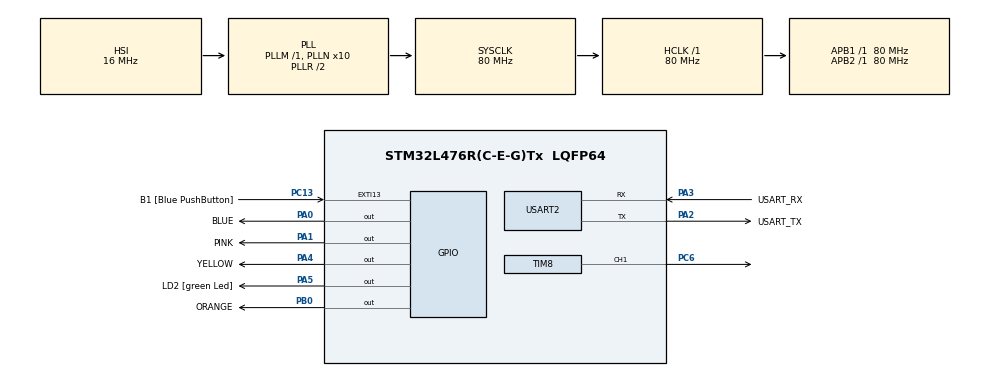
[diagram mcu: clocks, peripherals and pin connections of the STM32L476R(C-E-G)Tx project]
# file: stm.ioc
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Mcu.Family=STM32L4
Mcu.Name=STM32L476R(C-E-G)Tx
Mcu.Package=LQFP64
NVIC.PriorityGroup=NVIC_PRIORITYGROUP_4
PA0.GPIO_Label=BLUE
PA0.Signal=GPIO_Output
PA1.GPIO_Label=PINK
PA1.Signal=GPIO_Output
PA13\ (JTMS-SWDIO).GPIO_Label=TMS
PA13\ (JTMS-SWDIO).Mode=Serial_Wire
PA13\ (JTMS-SWDIO).Signal=SYS_JTMS-SWDIO
PA14\ (JTCK-SWCLK).GPIO_Label=TCK
PA14\ (JTCK-SWCLK).Mode=Serial_Wire
PA14\ (JTCK-SWCLK).Signal=SYS_JTCK-SWCLK
PA2.GPIO_Label=USART_TX
PA2.GPIO_Mode=GPIO_MODE_AF_PP
PA2.GPIO_PuPd=GPIO_NOPULL
PA2.GPIO_Speed=GPIO_SPEED_FREQ_VERY_HIGH
PA2.Mode=Asynchronous
PA2.Signal=USART2_TX
PA3.GPIO_Label=USART_RX
PA3.GPIO_Mode=GPIO_MODE_AF_PP
PA3.GPIO_PuPd=GPIO_NOPULL
PA3.GPIO_Speed=GPIO_SPEED_FREQ_VERY_HIGH
PA3.Mode=Asynchronous
PA3.Signal=USART2_RX
PA4.GPIO_Label=YELLOW
PA4.Signal=GPIO_Output
PA5.GPIO_Label=LD2 [green Led]
PA5.GPIO_ModeDefaultOutputPP=GPIO_MODE_OUTPUT_PP
PA5.GPIO_PuPd=GPIO_NOPULL
PA5.GPIO_Speed=GPIO_SPEED_FREQ_LOW
PA5.Signal=GPIO_Output
PB0.GPIO_Label=ORANGE
PB0.Signal=GPIO_Output
PB3\ (JTDO-TRACESWO).GPIO_Label=SWO
PB3\ (JTDO-TRACESWO).Signal=SYS_JTDO-SWO
PC13.GPIO_Label=B1 [Blue PushButton]
PC13.GPIO_ModeDefaultEXTI=GPIO_MODE_IT_FALLING
PC13.GPIO_PuPd=GPIO_NOPULL
PC13.Signal=GPXTI13
PC14-OSC32_IN\ (PC14).Mode=LSE-External-Oscillator
PC14-OSC32_IN\ (PC14).Signal=RCC_OSC32_IN
PC15-OSC32_OUT\ (PC15).Mode=LSE-External-Oscillator
PC15-OSC32_OUT\ (PC15).Signal=RCC_OSC32_OUT
PC6.Signal=S_TIM8_CH1
PH0-OSC_IN\ (PH0).Signal=RCC_OSC_IN
PH1-OSC_OUT\ (PH1).Signal=RCC_OSC_OUT
ProjectManager.HeapSize=0x200
ProjectManager.StackSize=0x400
ProjectManager.TargetToolchain=STM32CubeIDE
RCC.ADCFreq_Value=64000000
RCC.AHBFreq_Value=80000000
RCC.APB1Freq_Value=80000000
RCC.APB1TimFreq_Value=80000000
RCC.APB2Freq_Value=80000000
RCC.APB2TimFreq_Value=80000000
RCC.CortexFreq_Value=80000000
RCC.HCLKFreq_Value=80000000
RCC.HSE_VALUE=8000000
RCC.HSI_VALUE=16000000
RCC.MSI_VALUE=4000000
RCC.PLLN=10
RCC.PLLSourceVirtual=RCC_PLLSOURCE_HSI
RCC.PREFETCH_ENABLE=1
RCC.SYSCLKFreq_VALUE=80000000
RCC.SYSCLKSource=RCC_SYSCLKSOURCE_PLLCLK
RCC.USBFreq_Value=64000000
RCC.VCOOutputFreq_Value=160000000
SH.S_TIM8_CH1.0=TIM8_CH1,PWM Generation1 CH1
TIM6.Period=40000
TIM6.Prescaler=1
TIM8.Channel-PWM\ Generation1\ CH1=TIM_CHANNEL_1
TIM8.OCFastMode_PWM-PWM\ Generation1\ CH1=TIM_OCFAST_ENABLE
TIM8.Period=1000
TIM8.Pulse-PWM\ Generation1\ CH1=1000
USART2.VirtualMode-Asynchronous=VM_ASYNC
VP_TIM6_VS_ClockSourceINT.Mode=Enable_Timer
VP_TIM8_VS_ClockSourceINT.Mode=Internal
board=NUCLEO-L476RG

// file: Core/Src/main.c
/* USER CODE BEGIN Header */
/**
  ******************************************************************************
  * @file           : main.c
  * @brief          : Main program body
  ******************************************************************************
  * @attention
  *
  * Copyright (c) 2024 STMicroelectronics.
  * All rights reserved.
  *
  * This software is licensed under terms that can be found in the LICENSE file
  * in the root directory of this software component.
  * If no LICENSE file comes with this software, it is provided AS-IS.
  *
  ******************************************************************************
  */
/* USER CODE END Header */
#include "main.h"

TIM_HandleTypeDef htim6;
TIM_HandleTypeDef htim8;

UART_HandleTypeDef huart2;

void SystemClock_Config(void);
static void MX_GPIO_Init(void);
static void MX_USART2_UART_Init(void);
static void MX_TIM8_Init(void);
static void MX_TIM6_Init(void);

/* USER CODE BEGIN 0 */
static const int step_delay = 500;

void delay_us(uint32_t us)
{
	for (int i = 0; i < us; i++){
		HAL_TIM_Base_Start(&htim6);
		HAL_TIM_Base_Stop(&htim6);
	}
}

void turn_cw(unsigned int steps){
	HAL_GPIO_WritePin(BLUE_GPIO_Port, BLUE_Pin, GPIO_PIN_SET);
	  HAL_GPIO_WritePin(ORANGE_GPIO_Port, ORANGE_Pin, GPIO_PIN_RESET);
	  HAL_GPIO_WritePin(YELLOW_GPIO_Port, YELLOW_Pin, GPIO_PIN_SET);
	  HAL_GPIO_WritePin(PINK_GPIO_Port, PINK_Pin, GPIO_PIN_SET);

	  for (int i = 0; i<steps; i++){
	delay_us(step_delay);
	  //HAL_Delay(1);
	  HAL_GPIO_WritePin(YELLOW_GPIO_Port, YELLOW_Pin, GPIO_PIN_RESET);
	  delay_us(step_delay);
	  //HAL_Delay(1);
	  HAL_GPIO_WritePin(ORANGE_GPIO_Port, ORANGE_Pin, GPIO_PIN_SET);
	  delay_us(step_delay);
	  //HAL_Delay(1);
	  HAL_GPIO_WritePin(PINK_GPIO_Port, PINK_Pin, GPIO_PIN_RESET);
	  delay_us(step_delay);
	  //HAL_Delay(1);
	  HAL_GPIO_WritePin(YELLOW_GPIO_Port, YELLOW_Pin, GPIO_PIN_SET);
	  delay_us(step_delay);
	  //HAL_Delay(1);
	  HAL_GPIO_WritePin(BLUE_GPIO_Port, BLUE_Pin, GPIO_PIN_RESET);
	  delay_us(step_delay);
	  //HAL_Delay(1);
	  HAL_GPIO_WritePin(PINK_GPIO_Port, PINK_Pin, GPIO_PIN_SET);
	  delay_us(step_delay);
	  //HAL_Delay(1);
	  HAL_GPIO_WritePin(ORANGE_GPIO_Port, ORANGE_Pin, GPIO_PIN_RESET);
	  delay_us(step_delay);
	  //HAL_Delay(1);
	  HAL_GPIO_WritePin(BLUE_GPIO_Port, BLUE_Pin, GPIO_PIN_SET);
	  }
}

void turn_acw(unsigned int steps){
	HAL_GPIO_WritePin(BLUE_GPIO_Port, BLUE_Pin, GPIO_PIN_RESET);
	  HAL_GPIO_WritePin(ORANGE_GPIO_Port, ORANGE_Pin, GPIO_PIN_RESET);
	  HAL_GPIO_WritePin(YELLOW_GPIO_Port, YELLOW_Pin, GPIO_PIN_SET);
	  HAL_GPIO_WritePin(PINK_GPIO_Port, PINK_Pin, GPIO_PIN_SET);

	  for (int i = 0; i<steps; i++){
	delay_us(step_delay);
	  //HAL_Delay(1);
	  HAL_GPIO_WritePin(ORANGE_GPIO_Port, ORANGE_Pin, GPIO_PIN_SET);
	  delay_us(step_delay);
	  //HAL_Delay(1);
	  HAL_GPIO_WritePin(PINK_GPIO_Port, PINK_Pin, GPIO_PIN_RESET);
	  delay_us(step_delay);
	  //HAL_Delay(1);
	  HAL_GPIO_WritePin(BLUE_GPIO_Port, BLUE_Pin, GPIO_PIN_SET);
	  delay_us(step_delay);
	  //HAL_Delay(1);
	  HAL_GPIO_WritePin(YELLOW_GPIO_Port, YELLOW_Pin, GPIO_PIN_RESET);
	  delay_us(step_delay);
	  //HAL_Delay(1);
	  HAL_GPIO_WritePin(PINK_GPIO_Port, PINK_Pin, GPIO_PIN_SET);
	  delay_us(step_delay);
	  //HAL_Delay(1);
	  HAL_GPIO_WritePin(ORANGE_GPIO_Port, ORANGE_Pin, GPIO_PIN_RESET);
	  delay_us(step_delay);
	  //HAL_Delay(1);
	  HAL_GPIO_WritePin(YELLOW_GPIO_Port, YELLOW_Pin, GPIO_PIN_SET);
	  delay_us(step_delay);
	  //HAL_Delay(1);
	  HAL_GPIO_WritePin(BLUE_GPIO_Port, BLUE_Pin, GPIO_PIN_RESET);
	  }
}

/* USER CODE END 0 */

int main(void)
{

  /* MCU Configuration--------------------------------------------------------*/

  /* Reset of all peripherals, Initializes the Flash interface and the Systick. */
  HAL_Init();

  /* Configure the system clock */
  SystemClock_Config();

  /* Initialize all configured peripherals */
  MX_GPIO_Init();
  MX_USART2_UART_Init();
  MX_TIM8_Init();
  MX_TIM6_Init();
  /* USER CODE BEGIN 2 */
  HAL_TIM_PWM_Start(&htim8, TIM_CHANNEL_1);
  HAL_TIM_Base_Init(&htim6);

  uint16_t dutyCycle = HAL_TIM_ReadCapturedValue(&htim8, TIM_CHANNEL_1);
  dutyCycle = dutyCycle/ 1.8;
  __HAL_TIM_SET_COMPARE(&htim8, TIM_CHANNEL_1, dutyCycle);

  HAL_GPIO_WritePin(BLUE_GPIO_Port, BLUE_Pin, GPIO_PIN_SET);
  	  HAL_GPIO_WritePin(ORANGE_GPIO_Port, ORANGE_Pin, GPIO_PIN_RESET);
  	  HAL_GPIO_WritePin(YELLOW_GPIO_Port, YELLOW_Pin, GPIO_PIN_SET);
  	  HAL_GPIO_WritePin(PINK_GPIO_Port, PINK_Pin, GPIO_PIN_SET);

  /* USER CODE END 2 */

  /* Infinite loop */
  while (1)
  {

    /* USER CODE BEGIN 3 */
	  turn_cw(100);
	  turn_acw(100);

		//HAL_TIM_PWM_Start(&htim8, TIM_CHANNEL_1);
	  //HAL_GPIO_WritePin(LD2_GPIO_Port, LD2_Pin, GPIO_PIN_SET);
	  //HAL_Delay(1000);
	  //HAL_GPIO_WritePin(LD2_GPIO_Port, LD2_Pin, GPIO_PIN_RESET);
	  //HAL_Delay(1000);

//	  while(1) {
//		  while(dutyCycle < __HAL_TIM_GET_AUTORELOAD(&htim8)) {
//			  dutyCycle += 5;
//			  __HAL_TIM_SET_COMPARE(&htim8, TIM_CHANNEL_1, dutyCycle);
//			  HAL_Delay(0);
//		  }
//
//		  while(dutyCycle > 0) {
//			  dutyCycle -= 5;
//			  __HAL_TIM_SET_COMPARE(&htim8, TIM_CHANNEL_1, dutyCycle);
//			  HAL_Delay(0);
//		  }
//	  }

  }
  /* USER CODE END 3 */
}

void SystemClock_Config(void)
{
  RCC_OscInitTypeDef RCC_OscInitStruct = {0};
  RCC_ClkInitTypeDef RCC_ClkInitStruct = {0};

  /** Configure the main internal regulator output voltage
  */
  if (HAL_PWREx_ControlVoltageScaling(PWR_REGULATOR_VOLTAGE_SCALE1) != HAL_OK)
  {
    Error_Handler();
  }

  /** Initializes the RCC Oscillators according to the specified parameters
  * in the RCC_OscInitTypeDef structure.
  */
  RCC_OscInitStruct.OscillatorType = RCC_OSCILLATORTYPE_HSI;
  RCC_OscInitStruct.HSIState = RCC_HSI_ON;
  RCC_OscInitStruct.HSICalibrationValue = RCC_HSICALIBRATION_DEFAULT;
  RCC_OscInitStruct.PLL.PLLState = RCC_PLL_ON;
  RCC_OscInitStruct.PLL.PLLSource = RCC_PLLSOURCE_HSI;
  RCC_OscInitStruct.PLL.PLLM = 1;
  RCC_OscInitStruct.PLL.PLLN = 10;
  RCC_OscInitStruct.PLL.PLLP = RCC_PLLP_DIV7;
  RCC_OscInitStruct.PLL.PLLQ = RCC_PLLQ_DIV2;
  RCC_OscInitStruct.PLL.PLLR = RCC_PLLR_DIV2;
  if (HAL_RCC_OscConfig(&RCC_OscInitStruct) != HAL_OK)
  {
    Error_Handler();
  }

  /** Initializes the CPU, AHB and APB buses clocks
  */
  RCC_ClkInitStruct.ClockType = RCC_CLOCKTYPE_HCLK|RCC_CLOCKTYPE_SYSCLK
                              |RCC_CLOCKTYPE_PCLK1|RCC_CLOCKTYPE_PCLK2;
  RCC_ClkInitStruct.SYSCLKSource = RCC_SYSCLKSOURCE_PLLCLK;
  RCC_ClkInitStruct.AHBCLKDivider = RCC_SYSCLK_DIV1;
  RCC_ClkInitStruct.APB1CLKDivider = RCC_HCLK_DIV1;
  RCC_ClkInitStruct.APB2CLKDivider = RCC_HCLK_DIV1;

  if (HAL_RCC_ClockConfig(&RCC_ClkInitStruct, FLASH_LATENCY_4) != HAL_OK)
  {
    Error_Handler();
  }
}

static void MX_TIM6_Init(void)
{

  TIM_MasterConfigTypeDef sMasterConfig = {0};

  htim6.Instance = TIM6;
  htim6.Init.Prescaler = 1;
  htim6.Init.CounterMode = TIM_COUNTERMODE_UP;
  htim6.Init.Period = 40000;
  htim6.Init.AutoReloadPreload = TIM_AUTORELOAD_PRELOAD_DISABLE;
  if (HAL_TIM_Base_Init(&htim6) != HAL_OK)
  {
    Error_Handler();
  }
  sMasterConfig.MasterOutputTrigger = TIM_TRGO_RESET;
  sMasterConfig.MasterSlaveMode = TIM_MASTERSLAVEMODE_DISABLE;
  if (HAL_TIMEx_MasterConfigSynchronization(&htim6, &sMasterConfig) != HAL_OK)
  {
    Error_Handler();
  }

}

static void MX_TIM8_Init(void)
{

  TIM_ClockConfigTypeDef sClockSourceConfig = {0};
  TIM_MasterConfigTypeDef sMasterConfig = {0};
  TIM_OC_InitTypeDef sConfigOC = {0};
  TIM_BreakDeadTimeConfigTypeDef sBreakDeadTimeConfig = {0};

  htim8.Instance = TIM8;
  htim8.Init.Prescaler = 0;
  htim8.Init.CounterMode = TIM_COUNTERMODE_UP;
  htim8.Init.Period = 1000;
  htim8.Init.ClockDivision = TIM_CLOCKDIVISION_DIV1;
  htim8.Init.RepetitionCounter = 0;
  htim8.Init.AutoReloadPreload = TIM_AUTORELOAD_PRELOAD_DISABLE;
  if (HAL_TIM_Base_Init(&htim8) != HAL_OK)
  {
    Error_Handler();
  }
  sClockSourceConfig.ClockSource = TIM_CLOCKSOURCE_INTERNAL;
  if (HAL_TIM_ConfigClockSource(&htim8, &sClockSourceConfig) != HAL_OK)
  {
    Error_Handler();
  }
  if (HAL_TIM_PWM_Init(&htim8) != HAL_OK)
  {
    Error_Handler();
  }
  sMasterConfig.MasterOutputTrigger = TIM_TRGO_RESET;
  sMasterConfig.MasterOutputTrigger2 = TIM_TRGO2_RESET;
  sMasterConfig.MasterSlaveMode = TIM_MASTERSLAVEMODE_DISABLE;
  if (HAL_TIMEx_MasterConfigSynchronization(&htim8, &sMasterConfig) != HAL_OK)
  {
    Error_Handler();
  }
  sConfigOC.OCMode = TIM_OCMODE_PWM1;
  sConfigOC.Pulse = 1000;
  sConfigOC.OCPolarity = TIM_OCPOLARITY_HIGH;
  sConfigOC.OCNPolarity = TIM_OCNPOLARITY_HIGH;
  sConfigOC.OCFastMode = TIM_OCFAST_ENABLE;
  sConfigOC.OCIdleState = TIM_OCIDLESTATE_RESET;
  sConfigOC.OCNIdleState = TIM_OCNIDLESTATE_RESET;
  if (HAL_TIM_PWM_ConfigChannel(&htim8, &sConfigOC, TIM_CHANNEL_1) != HAL_OK)
  {
    Error_Handler();
  }
  sBreakDeadTimeConfig.OffStateRunMode = TIM_OSSR_DISABLE;
  sBreakDeadTimeConfig.OffStateIDLEMode = TIM_OSSI_DISABLE;
  sBreakDeadTimeConfig.LockLevel = TIM_LOCKLEVEL_OFF;
  sBreakDeadTimeConfig.DeadTime = 0;
  sBreakDeadTimeConfig.BreakState = TIM_BREAK_DISABLE;
  sBreakDeadTimeConfig.BreakPolarity = TIM_BREAKPOLARITY_HIGH;
  sBreakDeadTimeConfig.BreakFilter = 0;
  sBreakDeadTimeConfig.Break2State = TIM_BREAK2_DISABLE;
  sBreakDeadTimeConfig.Break2Polarity = TIM_BREAK2POLARITY_HIGH;
  sBreakDeadTimeConfig.Break2Filter = 0;
  sBreakDeadTimeConfig.AutomaticOutput = TIM_AUTOMATICOUTPUT_DISABLE;
  if (HAL_TIMEx_ConfigBreakDeadTime(&htim8, &sBreakDeadTimeConfig) != HAL_OK)
  {
    Error_Handler();
  }
  HAL_TIM_MspPostInit(&htim8);

}

static void MX_USART2_UART_Init(void)
{

  huart2.Instance = USART2;
  huart2.Init.BaudRate = 115200;
  huart2.Init.WordLength = UART_WORDLENGTH_8B;
  huart2.Init.StopBits = UART_STOPBITS_1;
  huart2.Init.Parity = UART_PARITY_NONE;
  huart2.Init.Mode = UART_MODE_TX_RX;
  huart2.Init.HwFlowCtl = UART_HWCONTROL_NONE;
  huart2.Init.OverSampling = UART_OVERSAMPLING_16;
  huart2.Init.OneBitSampling = UART_ONE_BIT_SAMPLE_DISABLE;
  huart2.AdvancedInit.AdvFeatureInit = UART_ADVFEATURE_NO_INIT;
  if (HAL_UART_Init(&huart2) != HAL_OK)
  {
    Error_Handler();
  }

}

static void MX_GPIO_Init(void)
{
  GPIO_InitTypeDef GPIO_InitStruct = {0};

  /* GPIO Ports Clock Enable */
  __HAL_RCC_GPIOC_CLK_ENABLE();
  __HAL_RCC_GPIOH_CLK_ENABLE();
  __HAL_RCC_GPIOA_CLK_ENABLE();
  __HAL_RCC_GPIOB_CLK_ENABLE();

  /*Configure GPIO pin Output Level */
  HAL_GPIO_WritePin(GPIOA, BLUE_Pin|PINK_Pin|YELLOW_Pin|LD2_Pin, GPIO_PIN_RESET);

  /*Configure GPIO pin Output Level */
  HAL_GPIO_WritePin(ORANGE_GPIO_Port, ORANGE_Pin, GPIO_PIN_RESET);

  /*Configure GPIO pin : B1_Pin */
  GPIO_InitStruct.Pin = B1_Pin;
  GPIO_InitStruct.Mode = GPIO_MODE_IT_FALLING;
  GPIO_InitStruct.Pull = GPIO_NOPULL;
  HAL_GPIO_Init(B1_GPIO_Port, &GPIO_InitStruct);

  /*Configure GPIO pins : BLUE_Pin PINK_Pin YELLOW_Pin LD2_Pin */
  GPIO_InitStruct.Pin = BLUE_Pin|PINK_Pin|YELLOW_Pin|LD2_Pin;
  GPIO_InitStruct.Mode = GPIO_MODE_OUTPUT_PP;
  GPIO_InitStruct.Pull = GPIO_NOPULL;
  GPIO_InitStruct.Speed = GPIO_SPEED_FREQ_LOW;
  HAL_GPIO_Init(GPIOA, &GPIO_InitStruct);

  /*Configure GPIO pin : ORANGE_Pin */
  GPIO_InitStruct.Pin = ORANGE_Pin;
  GPIO_InitStruct.Mode = GPIO_MODE_OUTPUT_PP;
  GPIO_InitStruct.Pull = GPIO_NOPULL;
  GPIO_InitStruct.Speed = GPIO_SPEED_FREQ_LOW;
  HAL_GPIO_Init(ORANGE_GPIO_Port, &GPIO_InitStruct);

}

void Error_Handler(void)
{
  __disable_irq();
  while (1)
  {
  }
}
